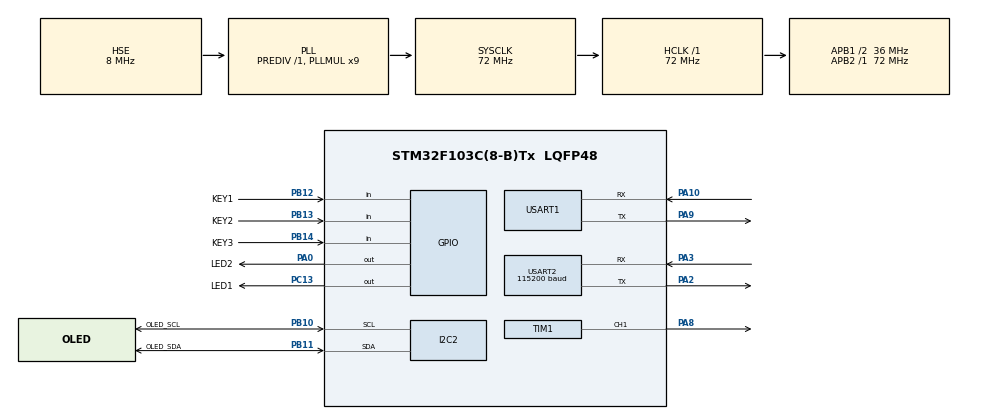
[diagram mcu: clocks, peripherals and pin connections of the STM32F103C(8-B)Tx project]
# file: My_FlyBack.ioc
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Dma.I2C2_TX.2.Direction=DMA_MEMORY_TO_PERIPH
Dma.I2C2_TX.2.Instance=DMA1_Channel4
Dma.I2C2_TX.2.MemDataAlignment=DMA_MDATAALIGN_BYTE
Dma.I2C2_TX.2.MemInc=DMA_MINC_ENABLE
Dma.I2C2_TX.2.Mode=DMA_NORMAL
Dma.I2C2_TX.2.PeriphDataAlignment=DMA_PDATAALIGN_BYTE
Dma.I2C2_TX.2.PeriphInc=DMA_PINC_DISABLE
Dma.I2C2_TX.2.Priority=DMA_PRIORITY_LOW
Dma.Request0=USART2_RX
Dma.Request1=USART2_TX
Dma.Request2=I2C2_TX
Dma.USART2_RX.0.Direction=DMA_PERIPH_TO_MEMORY
Dma.USART2_RX.0.Instance=DMA1_Channel6
Dma.USART2_RX.0.MemDataAlignment=DMA_MDATAALIGN_BYTE
Dma.USART2_RX.0.MemInc=DMA_MINC_ENABLE
Dma.USART2_RX.0.Mode=DMA_CIRCULAR
Dma.USART2_RX.0.PeriphDataAlignment=DMA_PDATAALIGN_BYTE
Dma.USART2_RX.0.PeriphInc=DMA_PINC_DISABLE
Dma.USART2_RX.0.Priority=DMA_PRIORITY_HIGH
Dma.USART2_TX.1.Direction=DMA_MEMORY_TO_PERIPH
Dma.USART2_TX.1.Instance=DMA1_Channel7
Dma.USART2_TX.1.MemDataAlignment=DMA_MDATAALIGN_BYTE
Dma.USART2_TX.1.MemInc=DMA_MINC_ENABLE
Dma.USART2_TX.1.Mode=DMA_CIRCULAR
Dma.USART2_TX.1.PeriphDataAlignment=DMA_PDATAALIGN_BYTE
Dma.USART2_TX.1.PeriphInc=DMA_PINC_DISABLE
Dma.USART2_TX.1.Priority=DMA_PRIORITY_LOW
I2C2.I2C_Mode=I2C_Fast
Mcu.Family=STM32F1
Mcu.Name=STM32F103C(8-B)Tx
Mcu.Package=LQFP48
NVIC.DMA1_Channel4_IRQn=true\:0\:0\:false\:false\:true\:false\:true\:true
NVIC.DMA1_Channel6_IRQn=true\:0\:0\:false\:false\:true\:false\:true\:true
NVIC.DMA1_Channel7_IRQn=true\:0\:0\:false\:false\:true\:false\:true\:true
NVIC.I2C2_EV_IRQn=true\:0\:0\:false\:false\:true\:true\:true\:true
NVIC.PriorityGroup=NVIC_PRIORITYGROUP_4
NVIC.TIM2_IRQn=true\:2\:0\:true\:false\:true\:true\:true\:true
NVIC.USART2_IRQn=true\:0\:0\:false\:false\:true\:true\:true\:true
PA0-WKUP.GPIO_Label=LED2
PA0-WKUP.Signal=GPIO_Output
PA10.Mode=Asynchronous
PA10.Signal=USART1_RX
PA13.Mode=Serial_Wire
PA13.Signal=SYS_JTMS-SWDIO
PA14.Mode=Serial_Wire
PA14.Signal=SYS_JTCK-SWCLK
PA2.Mode=Asynchronous
PA2.Signal=USART2_TX
PA3.Mode=Asynchronous
PA3.Signal=USART2_RX
PA8.Signal=S_TIM1_CH1
PA9.Mode=Asynchronous
PA9.Signal=USART1_TX
PB10.GPIO_Label=OLED_SCL
PB10.Mode=I2C
PB10.Signal=I2C2_SCL
PB11.GPIO_Label=OLED_SDA
PB11.Mode=I2C
PB11.Signal=I2C2_SDA
PB12.GPIO_Label=KEY1
PB12.GPIO_PuPd=GPIO_PULLUP
PB12.Signal=GPIO_Input
PB13.GPIO_Label=KEY2
PB13.GPIO_PuPd=GPIO_PULLUP
PB13.Signal=GPIO_Input
PB14.GPIO_Label=KEY3
PB14.GPIO_PuPd=GPIO_PULLUP
PB14.Signal=GPIO_Input
PC13-TAMPER-RTC.GPIO_Label=LED1
PC13-TAMPER-RTC.Signal=GPIO_Output
PD0-OSC_IN.Mode=HSE-External-Oscillator
PD0-OSC_IN.Signal=RCC_OSC_IN
PD1-OSC_OUT.Mode=HSE-External-Oscillator
PD1-OSC_OUT.Signal=RCC_OSC_OUT
ProjectManager.HeapSize=0x200
ProjectManager.StackSize=0x400
ProjectManager.TargetToolchain=SW4STM32
RCC.ADCPresc=RCC_ADCPCLK2_DIV6
RCC.AHBFreq_Value=72000000
RCC.APB1CLKDivider=RCC_HCLK_DIV2
RCC.APB1Freq_Value=36000000
RCC.APB1TimFreq_Value=72000000
RCC.APB2Freq_Value=72000000
RCC.APB2TimFreq_Value=72000000
RCC.HCLKFreq_Value=72000000
RCC.PLLMUL=RCC_PLL_MUL9
RCC.PLLSourceVirtual=RCC_PLLSOURCE_HSE
RCC.SYSCLKFreq_VALUE=72000000
RCC.SYSCLKSource=RCC_SYSCLKSOURCE_PLLCLK
RCC.USBFreq_Value=72000000
SH.S_TIM1_CH1.0=TIM1_CH1,PWM Generation1 CH1
TIM1.Channel-PWM\ Generation1\ CH1=TIM_CHANNEL_1
TIM1.Period=100 - 1
TIM1.Prescaler=720 - 1
TIM1.Pulse-PWM\ Generation1\ CH1=50
TIM2.Period=1000 - 1
TIM2.Prescaler=720 - 1
USART1.VirtualMode=VM_ASYNC
USART2.BaudRate=115200
USART2.VirtualMode=VM_ASYNC
VP_TIM1_VS_ClockSourceINT.Mode=Internal
VP_TIM2_VS_ClockSourceINT.Mode=Internal
board=custom

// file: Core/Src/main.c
/* USER CODE BEGIN Header */
/**
  ******************************************************************************
  * @file           : main.c
  * @brief          : Main program body
  ******************************************************************************
  * @attention
  *
  * Copyright (c) 2023 STMicroelectronics.
  * All rights reserved.
  *
  * This software is licensed under terms that can be found in the LICENSE file
  * in the root directory of this software component.
  * If no LICENSE file comes with this software, it is provided AS-IS.
  *
  ******************************************************************************
  */
/* USER CODE END Header */
#include "main.h"
#include "dma.h"
#include "i2c.h"
#include "tim.h"
#include "usart.h"
#include "gpio.h"

/* USER CODE BEGIN Includes */
#include "string.h"
#include "retarget.h"
#include "Motor.h"
#include "Uart_RxPackage.h"
#include "OLED.h"

#include "MyKey.h"
#include "MenuTask.h"
#include "UserCFG_U8g2.h"
#include "MenuTask.h"

/* USER CODE END Includes */

void SystemClock_Config(void);

/* USER CODE BEGIN 0 */
uint16_t k = 0;
uint16_t i = 0,j = 0;
UartRx_Package Uart2_Package;
u8g2_t TestU8G2;
TaskLinkList MenuL;
MenuHandle MENU;
volatile uint16_t ADCData[1] = {0};

/* USER CODE END 0 */

int main(void)
{

  /* MCU Configuration--------------------------------------------------------*/

  /* Reset of all peripherals, Initializes the Flash interface and the Systick. */
  HAL_Init();

  /* USER CODE BEGIN Init */
    RetargetInit(&huart1); //重定向串口一
    //HAL_DMA_Start(&hdma1,);
  /* USER CODE END Init */

  /* Configure the system clock */
  SystemClock_Config();

  /* Initialize all configured peripherals */
  MX_GPIO_Init();
  MX_DMA_Init();
  MX_TIM1_Init();
  MX_TIM2_Init();
  MX_USART2_UART_Init();
  MX_USART1_UART_Init();
  MX_I2C2_Init();
  /* USER CODE BEGIN 2 */
    HAL_TIM_Base_Start_IT(&htim2);
    Uart_RxPackage_Init(&Uart2_Package,&htim2,100,&huart2); //初始化串口接收数组
    Uart_PackageStart(&Uart2_Package);
   // HAL_DMA_Start()
    Delay_ms(250);

//    OLED_Init();
//    OLED_ShowString(1,1,"Success");

    u8g2Init(&TestU8G2);
    KeyInit();
    MenuInit(&TestU8G2,&MENU,&MenuL,u8g2_font_fub11_tf);
/**   示例代码
    u8g2_FirstPage(&TestU8G2);
    do
    {
        u8g2_SetFontMode(&TestU8G2, 1); //字体模式选择
        u8g2_SetFontDirection(&TestU8G2, 0); //字体方向选择
        u8g2_SetFont(&TestU8G2, u8g2_font_fub11_tf); //字库选择
        u8g2_DrawStr(&TestU8G2, 0, 20, "LL");
        Delay_ms(50);
    }while (u8g2_NextPage(&TestU8G2));
    **/
  /* USER CODE END 2 */

  /* Infinite loop */
  while (1)
  {

    /* USER CODE BEGIN 3 */
      PressKey2DoTask(&MENU,&MenuL);
      HAL_GPIO_TogglePin(LED1_GPIO_Port,LED1_Pin);
      Delay_ms(100);

    if(Uart2_Package.RxEndFalg == 1) //说明串口中断接收结束
    {
        Uart_DoTask(&Uart2_Package);
    }
  }
  /* USER CODE END 3 */
}

void SystemClock_Config(void)
{
  RCC_OscInitTypeDef RCC_OscInitStruct = {0};
  RCC_ClkInitTypeDef RCC_ClkInitStruct = {0};

  /** Initializes the RCC Oscillators according to the specified parameters
  * in the RCC_OscInitTypeDef structure.
  */
  RCC_OscInitStruct.OscillatorType = RCC_OSCILLATORTYPE_HSE;
  RCC_OscInitStruct.HSEState = RCC_HSE_ON;
  RCC_OscInitStruct.HSEPredivValue = RCC_HSE_PREDIV_DIV1;
  RCC_OscInitStruct.HSIState = RCC_HSI_ON;
  RCC_OscInitStruct.PLL.PLLState = RCC_PLL_ON;
  RCC_OscInitStruct.PLL.PLLSource = RCC_PLLSOURCE_HSE;
  RCC_OscInitStruct.PLL.PLLMUL = RCC_PLL_MUL9;
  if (HAL_RCC_OscConfig(&RCC_OscInitStruct) != HAL_OK)
  {
    Error_Handler();
  }

  /** Initializes the CPU, AHB and APB buses clocks
  */
  RCC_ClkInitStruct.ClockType = RCC_CLOCKTYPE_HCLK|RCC_CLOCKTYPE_SYSCLK
                              |RCC_CLOCKTYPE_PCLK1|RCC_CLOCKTYPE_PCLK2;
  RCC_ClkInitStruct.SYSCLKSource = RCC_SYSCLKSOURCE_PLLCLK;
  RCC_ClkInitStruct.AHBCLKDivider = RCC_SYSCLK_DIV1;
  RCC_ClkInitStruct.APB1CLKDivider = RCC_HCLK_DIV2;
  RCC_ClkInitStruct.APB2CLKDivider = RCC_HCLK_DIV1;

  if (HAL_RCC_ClockConfig(&RCC_ClkInitStruct, FLASH_LATENCY_2) != HAL_OK)
  {
    Error_Handler();
  }
}

/* USER CODE BEGIN 4 */
void HAL_I2C_MasterTxCpltCallback(I2C_HandleTypeDef *hi2c)
{
    printf("Callback OK!\r\n");
    //HAL_GPIO_TogglePin(LED1_GPIO_Port,LED1_Pin);
}
/* USER CODE END 4 */

void Error_Handler(void)
{
  __disable_irq();
  while (1)
  {
  }
}
